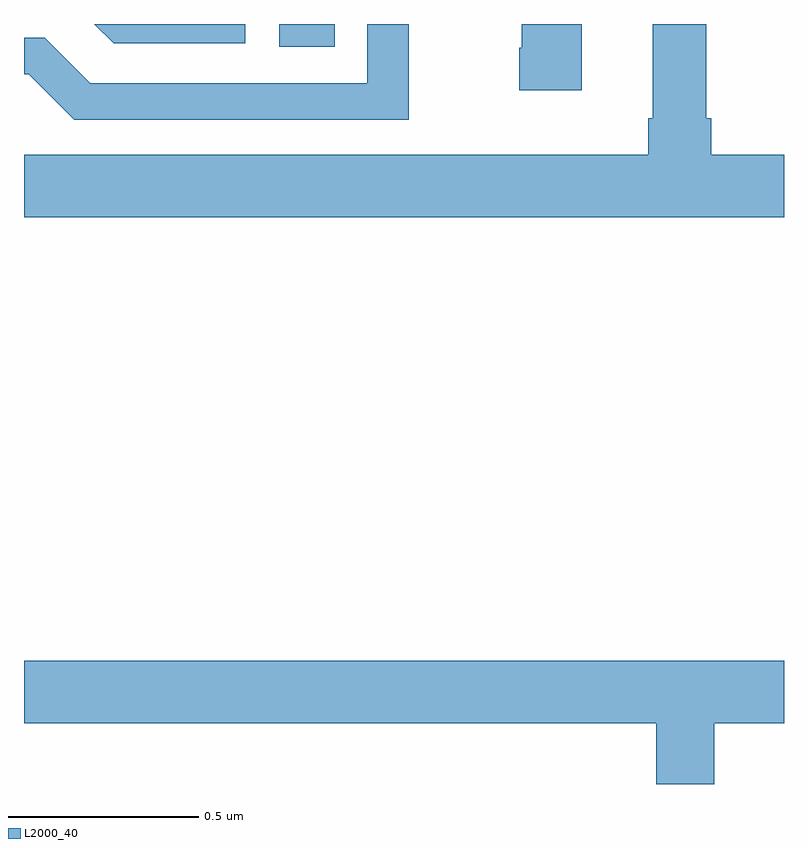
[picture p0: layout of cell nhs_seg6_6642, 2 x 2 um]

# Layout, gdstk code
import gdstk
lib = gdstk.Library(unit=1e-6, precision=1e-09)
def R(c, l, rs):  # rectangles x0, y0, x1, y1
    for r in rs: c.add(gdstk.rectangle(r[:2], r[2:], *l))
def P(c, l, *ps):  # polygons
    for p in ps: c.add(gdstk.Polygon(p, *l))
L2000_40 = (2000, 40)

nhs_seg6_6642 = lib.new_cell('nhs_seg6_6642')
R(nhs_seg6_6642, L2000_40, [(198.672,958.44,198.818,958.5)])
P(nhs_seg6_6642, L2000_40, [(200,958.156),(199.808,958.156),(199.808,958.252),(199.795,958.252),(199.795,958.5),(199.655,958.5),(199.655,958.252),(199.643,958.252),(199.643,958.156),(198,958.156),(198,957.992),(200,957.992)],
  [(198.582,958.5),(198.185,958.5),(198.236,958.449),(198.582,958.449)],
  [(199.468,958.5),(199.31,958.5),(199.31,958.438),(199.303,958.438),(199.303,958.326),(199.468,958.326)],
  [(199.012,958.5),(198.903,958.5),(198.903,958.344),(198.174,958.344),(198.054,958.464),(198,958.464),(198,958.368),(198.012,958.368),(198.132,958.248),(199.012,958.248)],
  [(199.816,956.66),(200,956.66),(200,956.824),(198,956.824),(198,956.66),(199.664,956.66),(199.664,956.5),(199.816,956.5)])

lib.write_gds('nhs_seg6_6642.gds')
